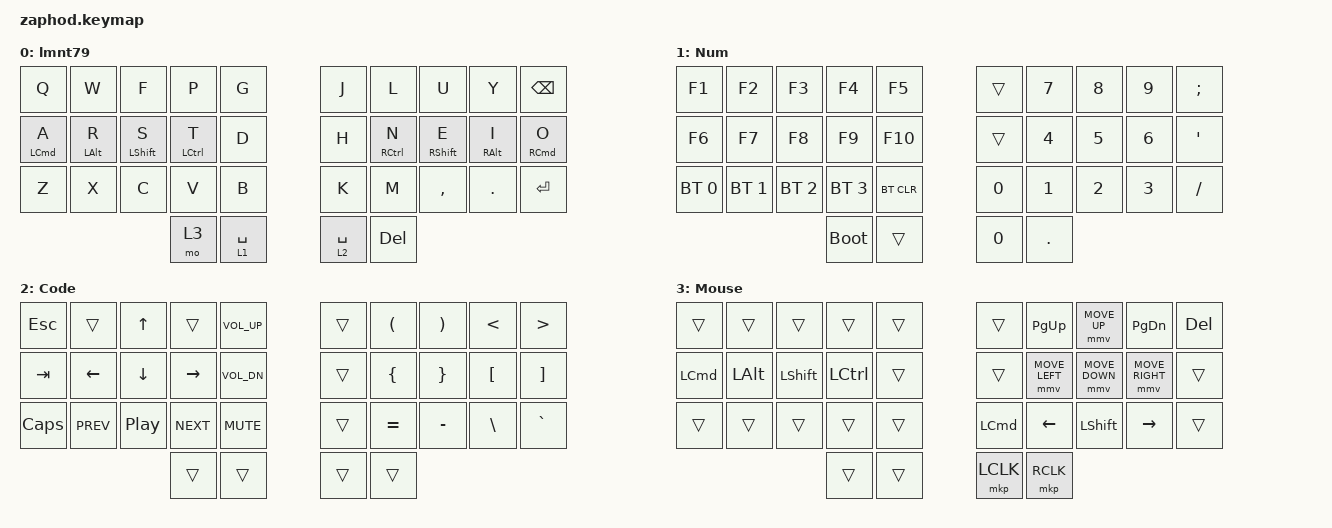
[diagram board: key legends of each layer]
/*
 * Copyright (c) 2020 The ZMK Contributors
 *
 * SPDX-License-Identifier: MIT
 */ 
 

#include <behaviors.dtsi>
#include <dt-bindings/zmk/keys.h>
#include <dt-bindings/zmk/bt.h>
#include <dt-bindings/zmk/mouse.h>

#define LETTERS 0
#define NUMBERS 1
#define BRACKETS 2
#define MOUSE 3


#define AS(keycode) &as LS(keycode) keycode
#define TOG_MO(layer) &tog_mo layer layer

&mt {
  tapping-term-ms = <200>;
  quick-tap-ms = <200>;
  flavor = "tap-preferred";
  retro-tap;
};

&mmv {
    time-to-max-speed-ms = <40>;
};

&mwh {
    acceleration-exponent=<8>;
};

/ {
        behaviors {
            as: auto_shift {
                compatible = "zmk,behavior-hold-tap";
                label = "AUTO_SHIFT";
                #binding-cells = <2>;
                tapping_term_ms = <150>;
                quick_tap_ms = <0>;
                flavor = "tap-preferred";
                bindings = <&kp>, <&kp>;
            };
	    tog_mo: behavior_mo_tog {
            compatible = "zmk,behavior-hold-tap";
            label = "mo_tog";
            #binding-cells = <2>;
            flavor = "hold-preferred";
            tapping-term-ms = <200>;
            bindings = <&tog>, <&mo>;
        };
    };


        keymap {
                compatible = "zmk,keymap";

                letters {

label = "lmnt79";
                        bindings = <
      &kp Q &kp W &kp F &kp P &kp G   &kp J &kp L  &kp U     &kp Y   &kp BSPC    
    &mt LCMD A &mt LALT R &mt LSHFT S &mt LCTRL T &kp D   &kp H &mt RCTRL N  &mt RSHFT E     &mt RALT I   &mt RCMD O 
    &kp Z &kp X &kp C &kp V &kp B   &kp K &kp M  &kp COMMA &kp DOT &kp RET 
                   &mo 3   &lt 1 SPACE  &lt 2 SPACE &kp DEL

                        >;

                        
                };
                numbers {
label = "Num";
                        bindings = <
       &kp F1       &kp F2       &kp F3       &kp F4       &kp F5         	&trans   	&kp N7  &kp N8 	&kp N9  	&kp SEMI 	
       &kp F6       &kp F7       &kp F8      &kp F9      &kp F10 		&trans 		&kp N4	&kp N5	&kp N6	&kp SQT 	
     &bt BT_SEL 0       &bt BT_SEL 1       &bt BT_SEL 2       &bt BT_SEL 3       &bt BT_CLR         	&kp N0   &kp N1   &kp N2 	&kp N3  	&kp FSLH			 
                          	    &bootloader        &trans          	&kp N0  &kp DOT   
                        >;
                };

                brackets {
		label = "Code";
                        bindings = <
    	&kp ESC  &trans &kp UP &trans &kp C_VOL_UP     &trans &kp LPAR 	&kp RPAR 	&kp LT	&kp GT 
    &kp TAB &kp LEFT &kp DOWN &kp RIGHT &kp C_VOL_DN    &trans &kp LBRC &kp RBRC &kp LBKT &kp RBKT 
    &kp CAPS &kp C_PREV &kp C_PP &kp C_NEXT &kp K_MUTE   	 &trans  &kp EQUAL &kp MINUS &kp BSLH &kp GRAVE 
                    	     &trans    &trans       &trans &trans

                        >;
                };
                
                mouse {
		label = "Mouse";
			bindings = <
           &trans           &trans           &trans           &trans           &trans      &trans           &kp PAGE_UP          &mmv MOVE_UP           &kp PAGE_DOWN           &kp DEL                
           &kp LCMD           &kp LALT           &kp LSHFT           &kp LCTRL           &trans              &trans           &mmv MOVE_LEFT       &mmv MOVE_DOWN       &mmv MOVE_RIGHT        &trans          
           &trans       	&trans       	&trans     	&trans       	&trans		                        &kp LCMD           &kp LEFT           &kp LSHFT           &kp RIGHT           &trans                
                                          &trans         &trans                                   &mkp LCLK          &mkp RCLK                   
>;
		};
        };
};
